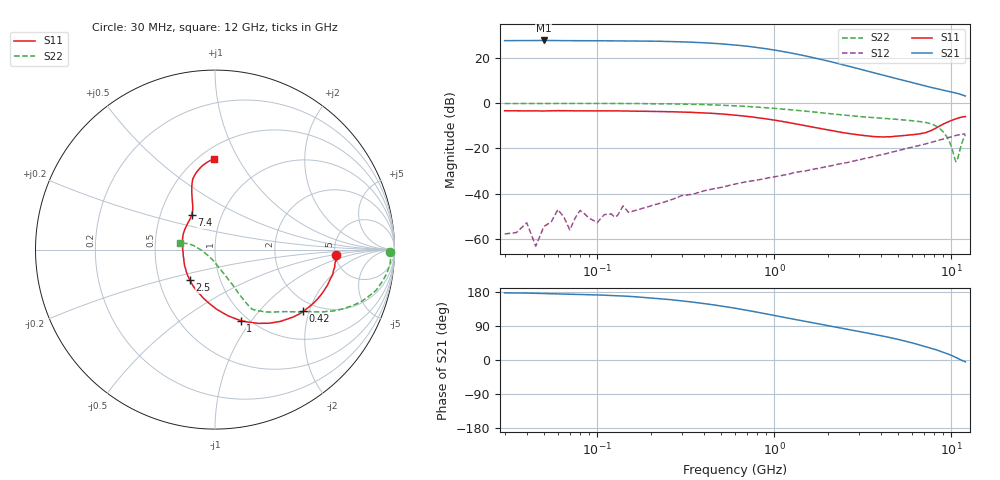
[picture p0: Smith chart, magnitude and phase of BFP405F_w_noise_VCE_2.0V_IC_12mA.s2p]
! Infineon Technologies  Discrete & RF Semiconductors
! BFP405F
! VCE =  2.0 V,  IC =  12 mA
! Common Emitter S-Parameters:  Nov 2015
# GHz  S  MA  R  50
!  f  S11  S21  S12  S22
! GHz  MAG  ANG  MAG  ANG  MAG  ANG  MAG  ANG
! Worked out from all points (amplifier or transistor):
!   239 points, 30 MHz to 12 GHz, reference 50 ohm
!   highest |S21| = 27.6 dB at 50 MHz (marker M1)
!   |S21| within 3 dB of that: start of sweep to 780.4 MHz
!   unconditionally stable (mu >= 1): 44.98789 MHz to 45.18022 MHz; 2.06 GHz to end of sweep
!   at 300 MHz: K = 0.14, MSG = 33.9 dB, |S12| = -40.8 dB
!   at 1.88 GHz: K = 0.95, MSG = 23.7 dB, |S12| = -28.4 dB
!   at 12 GHz: K = 1.39, MAG = 4.6 dB, |S12| = -13.5 dB
!   lowest NFmin = 1.80 dB at 450 MHz
!   S11 on the Smith chart (normalised r, x): 30 MHz: 5.11, -0.56; 420 MHz: 1.70, -1.82; 1 GHz: 0.92, -0.89; 2.5 GHz: 0.71, -0.26; 7.4 GHz: 0.72, +0.29; 12 GHz: 0.59, +0.80
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0.03  0.6761 -2.5  23.73 177.1  0.0013 -157.6  0.9742 -0.7
0.04  0.674 -3.2  23.78 176.6  0.0023 121.7  0.9786 -0.9
0.045  0.6712 -3.9  23.87 176.0  0.0007 66.0  0.9771 -1.2
0.05  0.6685 -4.7  23.96 175.4  0.0019 -22.9  0.9756 -1.6
0.06  0.68 -5.0  23.74 174.8  0.0045 67.6  0.9795 -1.9
0.07  0.6733 -6.0  23.74 173.5  0.0016 72.1  0.9803 -2.2
0.085  0.6735 -7.4  23.65 172.7  0.0036 83.8  0.9811 -2.7
0.14  0.6687 -12.3  23.51 168.9  0.0054 90.2  0.977 -4.9
0.24  0.6486 -20.8  22.85 160.7  0.0066 79.3  0.9621 -8.6
0.3  0.6342 -25.7  22.38 156.1  0.0091 88.1  0.9494 -10.7
0.42  0.5998 -35.0  21.12 147.7  0.0121 78.5  0.922 -14.5
0.6  0.5419 -47.5  19.02 136.5  0.0164 73.6  0.8704 -19.1
0.8  0.4773 -59.5  16.74 126.1  0.02 70.8  0.8143 -23.0
1  0.4212 -70.0  14.73 117.5  0.0237 68.2  0.7636 -26.2
1.3  0.3504 -84.0  12.25 107.2  0.0295 68.2  0.6986 -29.7
1.64  0.296 -97.8  10.12 98.5  0.0344 66.9  0.6407 -32.7
2.5  0.2207 -129.7  6.824 82.3  0.0477 65.8  0.5408 -39.9
4.5  0.1806 177.4  3.762 59.2  0.0801 59.8  0.4511 -50.3
7.4  0.2334 123.9  2.293 33.2  0.1302 48.3  0.3625 -59.2
9.2  0.3584 111.2  1.886 18.8  0.1653 39.2  0.206 -64.2
10.6  0.4481 102.7  1.668 6.8  0.1928 30.3  0.0509 -123.5
12  0.5035 90.6  1.429 -4.8  0.2105 22.3  0.2005 168.7
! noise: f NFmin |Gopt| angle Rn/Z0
0.45  1.8  0.16  4  0.33
0.9  1.81  0.15  8  0.33
1.5  1.86  0.13  12  0.23
1.9  1.91  0.12  19  0.29
2.4  2.04  0.1  26  0.38
3  2.11  0.08  35  0.4
3.5  2.17  0.06  40  0.45
4.5  2.36  0.03  -10  0.19
5.5  2.6  0.12  -85  0.06
